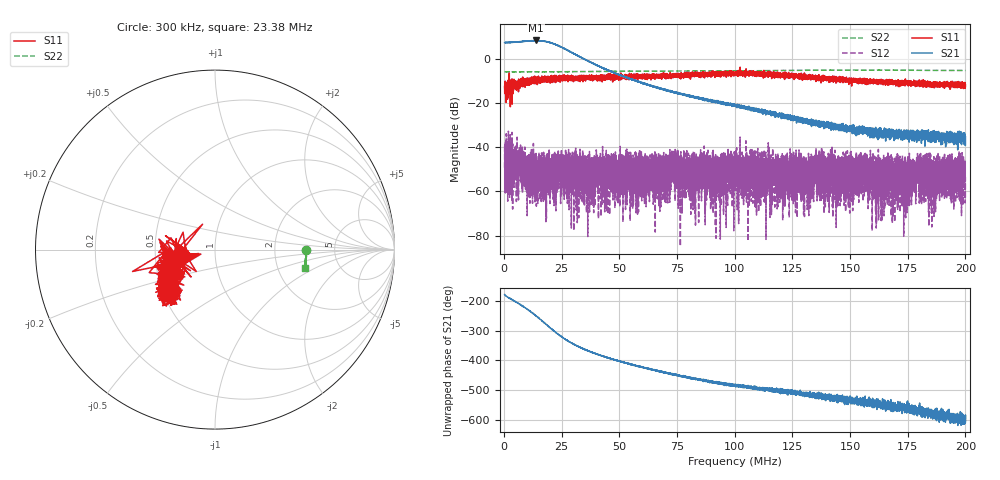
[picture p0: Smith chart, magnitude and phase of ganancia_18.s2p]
# Hz S DB R 50
! CMT, M5065, 19127446, 24.2.4/2
! Date: 11/8/2024 5:40:51 PM
! Data: Format (Calibration Info)
! Freq	S11:dB/Ang(F2)	S21:dB/Ang(F2)	S12:dB/Ang(F2)	S22:dB/Ang(F2)
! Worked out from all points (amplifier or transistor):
!   9000 points, 300 kHz to 200 MHz, reference 50 ohm
!   highest |S21| = 8.3 dB at 13.9 MHz (marker M1)
!   |S21| within 3 dB of that: start of sweep to 24.89 MHz
!   unconditionally stable (mu >= 1): start of sweep to end of sweep
!   at 33.59 MHz: K = 96.42, MAG = 2.6 dB, |S12| = -50.4 dB
!   at 100.2 MHz: K = 781.97, MAG = -18.3 dB, |S12| = -48.2 dB
!   at 200 MHz: K = 9071.51, MAG = -33.5 dB, |S12| = -53.5 dB
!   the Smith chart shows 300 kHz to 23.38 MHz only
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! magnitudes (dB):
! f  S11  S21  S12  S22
! 300 kHz  -12.5  7.4  -49.3  -5.9
! 2.186 MHz  -12.5  7.4  -46.9  -5.9
! 13.9 MHz  -8.9  8.3  -42.8  -5.9
! 33.59 MHz  -8.2  0.5  -50.4  -5.8
! 37.29 MHz  -8.2  -1.4  -55.5  -5.7
! 40.95 MHz  -7.9  -3.2  -52.9  -5.7
! 66.87 MHz  -7.2  -13.2  -50.0  -5.5
! 79.23 MHz  -7.2  -16.4  -54.1  -5.5
! 81.14 MHz  -7.0  -16.7  -52.9  -5.5
! 85.91 MHz  -7.7  -18.4  -44.5  -5.5
! 91.37 MHz  -6.9  -19.1  -63.3  -5.5
! 94.84 MHz  -6.9  -20.0  -60.3  -5.4
! 100.2 MHz  -6.4  -20.9  -48.2  -5.4
! 133.4 MHz  -7.4  -28.2  -49.9  -5.1
! 134.6 MHz  -8.0  -28.0  -46.8  -5.1
! 139.6 MHz  -9.0  -30.6  -50.4  -5.1
! 141.5 MHz  -10.4  -29.3  -50.1  -5.1
! 143.5 MHz  -8.3  -29.9  -58.1  -5.1
! 156.9 MHz  -9.6  -31.4  -48.4  -5.1
! 164.3 MHz  -10.5  -33.7  -62.3  -5.1
! 166.7 MHz  -11.3  -35.0  -51.2  -5.1
! 200 MHz  -12.3  -35.3  -53.5  -5.3
